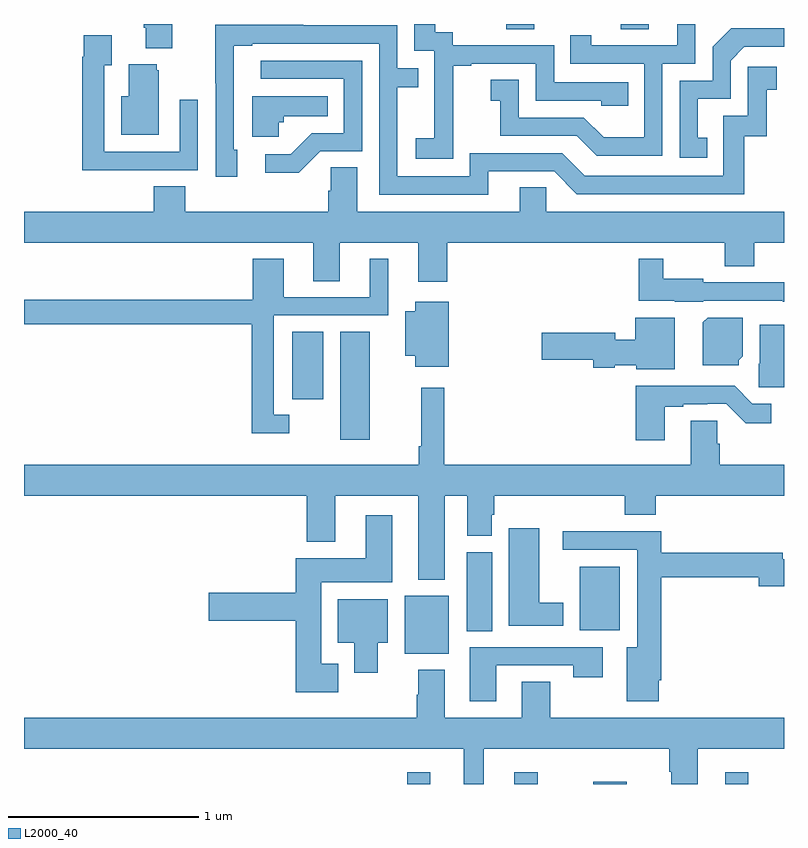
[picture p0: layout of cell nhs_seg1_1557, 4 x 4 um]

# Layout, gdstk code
import gdstk
lib = gdstk.Library(unit=1e-6, precision=1e-09)
def R(c, l, rs):  # rectangles x0, y0, x1, y1
    for r in rs: c.add(gdstk.rectangle(r[:2], r[2:], *l))
def P(c, l, *ps):  # polygons
    for p in ps: c.add(gdstk.Polygon(p, *l))
L2000_40 = (2000, 40)

nhs_seg1_1557 = lib.new_cell('nhs_seg1_1557')
R(nhs_seg1_1557, L2000_40, [(197.016,566.199,197.137,566.26), (197.58,566.199,197.703,566.26), (197.996,566.199,198.172,566.212), (198.69,566.199,198.813,566.26), (197.003,566.885,197.236,567.19), (197.33,567.004,197.464,567.42), (197.924,567.008,198.136,567.343), (196.664,568.011,196.819,568.58), (196.412,568.224,196.576,568.58), (197.537,570.172,197.685,570.199), (198.142,570.172,198.289,570.199)])
P(nhs_seg1_1557, L2000_40, [(198.36,569.991),(198.534,569.991),(198.534,570.199),(198.437,570.199),(198.437,570.087),(197.986,570.087),(197.986,570.139),(197.875,570.139),(197.875,569.991),(198.264,569.991),(198.264,569.602),(198.05,569.602),(197.946,569.706),(197.604,569.706),(197.604,569.905),(197.457,569.905),(197.457,569.795),(197.506,569.795),(197.506,569.61),(197.909,569.61),(198.014,569.505),(198.36,569.505)],
  [(195.781,570.199),(195.629,570.199),(195.629,570.178),(195.641,570.178),(195.641,570.071),(195.781,570.071)],
  [(197.259,569.695),(197.258,569.695),(197.258,569.979),(197.353,569.979),(197.353,569.991),(197.694,569.991),(197.694,569.796),(198.039,569.796),(198.039,569.769),(198.179,569.769),(198.179,569.892),(197.79,569.892),(197.79,570.087),(197.256,570.087),(197.256,570.156),(197.164,570.156),(197.164,570.199),(197.055,570.199),(197.055,570.057),(197.16,570.057),(197.16,569.828),(197.159,569.828),(197.159,569.599),(197.061,569.599),(197.061,569.489),(197.259,569.489)],
  [(197.443,569.424),(197.79,569.424),(197.91,569.304),(198.79,569.304),(198.79,569.607),(198.908,569.607),(198.908,569.853),(198.961,569.853),(198.961,569.974),(198.81,569.974),(198.81,569.715),(198.681,569.715),(198.681,569.4),(197.952,569.4),(197.832,569.52),(197.346,569.52),(197.346,569.397),(196.965,569.397),(196.965,569.866),(197.075,569.866),(197.075,569.967),(196.965,569.967),(196.965,570.192),(196.469,570.192),(196.469,570.194),(196.006,570.194),(196.006,569.887),(196.008,569.887),(196.008,569.394),(196.123,569.394),(196.123,569.538),(196.104,569.538),(196.104,570.084),(196.201,570.084),(196.201,570.096),(196.869,570.096),(196.869,569.301),(197.443,569.301)],
  [(198.596,569.601),(198.547,569.601),(198.547,569.805),(198.72,569.805),(198.72,570.006),(198.792,570.078),(199,570.078),(199,570.176),(198.722,570.176),(198.624,570.078),(198.624,569.901),(198.45,569.901),(198.45,569.496),(198.596,569.496)],
  [(195.599,569.43),(195.915,569.43),(195.915,569.8),(195.819,569.8),(195.819,569.526),(195.423,569.526),(195.423,569.983),(195.463,569.983),(195.463,570.139),(195.315,570.139),(195.315,570.026),(195.307,570.026),(195.307,569.429),(195.599,569.429)],
  [(196.56,569.529),(196.779,569.529),(196.779,570.006),(196.245,570.006),(196.245,569.91),(196.683,569.91),(196.683,569.625),(196.514,569.625),(196.403,569.514),(196.269,569.514),(196.269,569.417),(196.447,569.417)],
  [(195.709,569.955),(195.698,569.955),(195.698,569.986),(195.551,569.986),(195.551,569.818),(195.512,569.818),(195.512,569.615),(195.709,569.615)],
  [(196.341,569.682),(196.368,569.682),(196.368,569.714),(196.598,569.714),(196.598,569.818),(196.202,569.818),(196.202,569.606),(196.341,569.606)],
  [(197.228,569.048),(198.688,569.048),(198.688,568.924),(198.843,568.924),(198.843,569.048),(199,569.048),(199,569.212),(197.748,569.212),(197.748,569.339),(197.609,569.339),(197.609,569.212),(196.753,569.212),(196.753,569.444),(196.614,569.444),(196.614,569.321),(196.601,569.321),(196.601,569.212),(195.848,569.212),(195.848,569.345),(195.683,569.345),(195.683,569.212),(195,569.212),(195,569.048),(196.523,569.048),(196.523,568.846),(196.663,568.846),(196.663,569.048),(197.075,569.048),(197.075,568.842),(197.228,568.842)],
  [(198.576,568.743),(198.993,568.743),(198.993,568.736),(199,568.736),(199,568.841),(198.993,568.841),(198.993,568.839),(198.576,568.839),(198.576,568.858),(198.364,568.858),(198.364,568.963),(198.235,568.963),(198.235,568.742),(198.426,568.742),(198.426,568.736),(198.576,568.736)],
  [(196.396,568.143),(196.314,568.143),(196.314,568.665),(196.918,568.665),(196.918,568.963),(196.82,568.963),(196.82,568.761),(196.366,568.761),(196.366,568.963),(196.205,568.963),(196.205,568.747),(195,568.747),(195,568.618),(196.198,568.618),(196.198,568.046),(196.396,568.046)],
  [(197.236,568.738),(197.06,568.738),(197.06,568.687),(197.006,568.687),(197.006,568.454),(197.06,568.454),(197.06,568.394),(197.236,568.394)],
  [(198.762,568.428),(198.784,568.45),(198.784,568.654),(198.598,568.654),(198.572,568.628),(198.572,568.403),(198.762,568.403)],
  [(198.424,568.652),(198.218,568.652),(198.218,568.538),(198.112,568.538),(198.112,568.575),(197.724,568.575),(197.724,568.433),(197.996,568.433),(197.996,568.391),(198.108,568.391),(198.108,568.403),(198.222,568.403),(198.222,568.382),(198.424,568.382)],
  [(199,568.615),(198.872,568.615),(198.872,568.41),(198.868,568.41),(198.868,568.287),(199,568.287)],
  [(198.373,568.185),(198.469,568.185),(198.469,568.197),(198.596,568.197),(198.596,568.2),(198.696,568.2),(198.799,568.098),(198.934,568.098),(198.934,568.2),(198.834,568.2),(198.74,568.294),(198.221,568.294),(198.221,568.008),(198.373,568.008)],
  [(197.213,568.285),(197.092,568.285),(197.092,567.976),(197.077,567.976),(197.077,567.88),(195,567.88),(195,567.716),(196.487,567.716),(196.487,567.473),(196.639,567.473),(196.639,567.716),(197.075,567.716),(197.075,567.275),(197.215,567.275),(197.215,567.716),(197.333,567.716),(197.333,567.505),(197.461,567.505),(197.461,567.615),(197.474,567.615),(197.474,567.716),(198.161,567.716),(198.161,567.617),(198.326,567.617),(198.326,567.716),(199,567.716),(199,567.88),(198.662,567.88),(198.662,567.99),(198.648,567.99),(198.648,568.112),(198.509,568.112),(198.509,567.88),(197.213,567.88)],
  [(196.654,566.833),(196.564,566.833),(196.564,567.26),(196.939,567.26),(196.939,567.613),(196.799,567.613),(196.799,567.388),(196.43,567.388),(196.43,567.206),(195.972,567.206),(195.972,567.059),(196.43,567.059),(196.43,566.681),(196.654,566.681)],
  [(197.839,567.154),(197.713,567.154),(197.713,567.544),(197.552,567.544),(197.552,567.032),(197.839,567.032)],
  [(198.34,566.746),(198.353,566.746),(198.353,567.286),(198.866,567.286),(198.866,567.239),(199,567.239),(199,567.381),(198.994,567.381),(198.994,567.415),(198.353,567.415),(198.353,567.53),(197.835,567.53),(197.835,567.432),(198.227,567.432),(198.227,566.92),(198.173,566.92),(198.173,566.634),(198.34,566.634)],
  [(196.861,566.942),(196.915,566.942),(196.915,567.172),(196.652,567.172),(196.652,566.942),(196.739,566.942),(196.739,566.784),(196.861,566.784)],
  [(197.485,566.823),(197.89,566.823),(197.89,566.76),(198.046,566.76),(198.046,566.919),(197.345,566.919),(197.345,566.634),(197.485,566.634)],
  [(197.769,566.738),(197.621,566.738),(197.621,566.548),(197.215,566.548),(197.215,566.8),(197.075,566.8),(197.075,566.669),(197.068,566.669),(197.068,566.548),(195,566.548),(195,566.384),(197.315,566.384),(197.315,566.199),(197.419,566.199),(197.419,566.384),(198.395,566.384),(198.395,566.264),(198.407,566.264),(198.407,566.199),(198.547,566.199),(198.547,566.384),(199,566.384),(199,566.548),(197.769,566.548)])

lib.write_gds('nhs_seg1_1557.gds')
